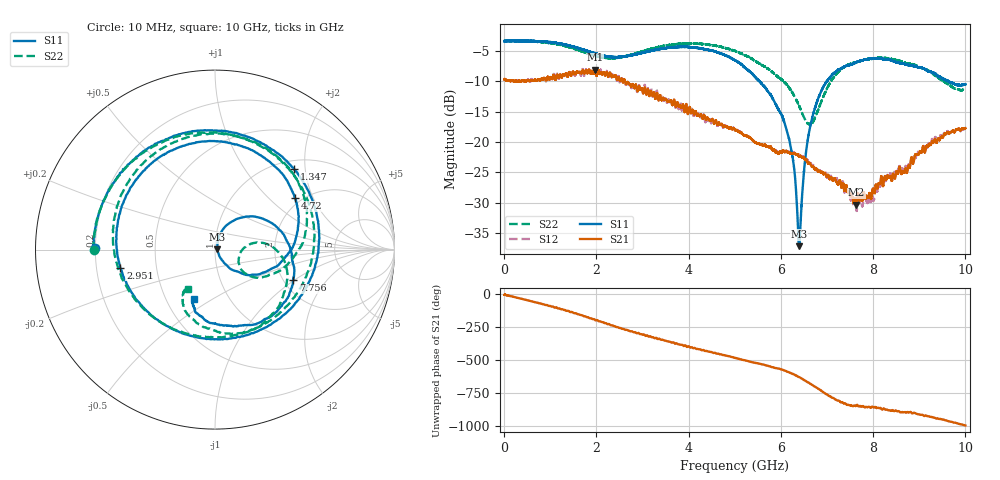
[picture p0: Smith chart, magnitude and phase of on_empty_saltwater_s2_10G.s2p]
!Agilent Technologies,E8362C,MY43020457,A.09.42.15
!Agilent E8362C: A.09.42.15
!Date: Friday, March 13, 2026 15:23:14
!Correction: S11(Full 2 Port(1,2))
!S21(Full 2 Port(1,2))
!S12(Full 2 Port(1,2))
!S22(Full 2 Port(1,2))
!S2P File: Measurements: S11, S21, S12, S22:
# Hz S  dB  R 50
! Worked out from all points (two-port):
!   20001 points, 10 MHz to 10 GHz, reference 50 ohm
!   highest |S21| = -8.10 dB at 1.968 GHz (marker M1); lowest = -30.3 dB at 7.638 GHz (marker M2)
!   |S21| within 3 dB of the highest: start of sweep to 2.818 GHz; 2.828 GHz to 2.872 GHz (44.57 MHz wide, 1.56 % of centre)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
!   lowest |S11| = -37.1 dB at 6.393 GHz (marker M3), VSWR 1.03, Z = 51.4 + j0.0907 ohm
!   |S11| at or under -10 dB: 5.536635 GHz to 5.538833 GHz (2.198 MHz wide, 0.0397 % of centre); 5.539 GHz to 6.999 GHz (1.459 GHz wide, 23.3 % of centre); 9.634 GHz to end of sweep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
!   |S22| runs from -17.1 to -3.3 dB; largest |S21 - S12| = 0.025
!   S11 on the Smith chart (normalised r, x): 10 MHz: 0.20, +0.01; 1.347 GHz: 1.18, +1.75; 2.951 GHz: 0.30, -0.09; 4.72 GHz: 1.84, +1.48; 7.756 GHz: 2.24, -0.98; 10 GHz: 0.69, -0.41
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1e7  -3.48 179.3  -9.65 -2.0  -9.56 -2.9  -3.44 -179.7
7.90219e8  -3.44 106.7  -9.81 -69.4  -9.77 -69.7  -3.54 109.9
1.347162e9  -4.02 45.5  -8.81 -124.6  -8.68 -124.7  -4.26 49.9
1.675333e9  -4.74 3.8  -8.67 -157.8  -8.88 -155.6  -5.08 7.7
1.96754e9  -5.40 -36.1  -8.10 167.4  -7.95 168.5  -5.80 -33.8
2.422585e9  -6.03 -101.2  -9.20 112.7  -9.28 111.4  -6.18 -101.4
2.950556e9  -5.40 -169.2  -11.35 58.6  -11.50 59.6  -5.22 -169.1
3.340166e9  -4.76 148.7  -13.03 20.1  -12.98 17.8  -4.40 150.5
3.974032e9  -4.36 90.8  -15.11 -39.7  -14.93 -40.5  -3.79 95.7
4.719786e9  -5.50 32.9  -17.05 -98.5  -17.06 -98.6  -4.39 42.8
5.005e9  -6.57 12.2  -17.99 -123.1  -18.01 -122.0  -5.01 24.6
6.047456e9  -16.13 -48.1  -21.41 145.9  -21.43 144.7  -9.94 -28.2
6.256248e9  -22.58 -56.2  -21.90 115.5  -21.80 116.1  -11.96 -36.6
6.39311e9  -37.11 3.6  -22.36 91.6  -22.16 91.6  -14.02 -38.0
6.539964e9  -21.96 73.2  -22.93 61.9  -22.70 61.6  -16.57 -28.0
6.670333e9  -16.25 63.9  -24.06 33.3  -23.88 32.4  -16.93 -7.5
7.02348e9  -9.75 30.7  -25.43 -47.1  -25.48 -46.3  -10.83 6.5
7.637864e9  -6.86 -13.4  -30.28 -125.2  -31.12 -131.9  -6.89 -31.7
7.756246e9  -6.60 -21.5  -29.60 -132.9  -30.42 -135.0  -6.58 -38.2
8.335166e9  -6.46 -59.3  -25.76 -161.1  -25.98 -156.8  -6.25 -72.6
9.213787e9  -8.38 -101.5  -20.34 152.6  -19.97 151.8  -8.36 -115.2
1e10  -10.52 -113.0  -17.72 83.8  -17.78 82.7  -11.59 -124.6
